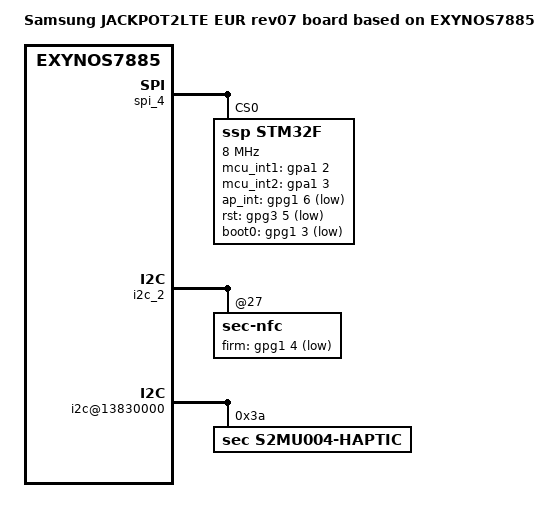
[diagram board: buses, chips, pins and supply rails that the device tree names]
/*
 * SAMSUNG UNIVERSAL7885 board device tree source
 *
 * Copyright (c) 2013 Samsung Electronics Co., Ltd.
 *		http://www.samsung.com
 *
 * This program is free software; you can redistribute it and/or modify
 * it under the terms of the GNU General Public License version 2 as
 * published by the Free Software Foundation.
*/

/dts-v1/;
#include "exynos7885-jackpot2lte_common.dtsi"
#include "exynos7885-jackpotlte_fingerprint-sensor_00.dtsi"
#include "exynos7885-jackpot2lte_eur_open_gpio_07.dtsi"
#include "exynos7885-jackpotlte_mst_02.dtsi"
#include "exynos7885-jackpot2lte_svcled.dtsi"

/ {
	model = "Samsung JACKPOT2LTE EUR rev07 board based on EXYNOS7885";
	model_info-chip = <7885>;
	model_info-platform = "android";
	model_info-subtype = "samsung";
	model_info-hw_rev = <7>;
	model_info-hw_rev_end = <255>;
	compatible = "samsung, JACKPOT2LTE EUR rev07", "samsung,Universal7885";

	/* SENSORHUB */
    spi_4: spi@13980000 {
        #address-cells = <1>;
        #size-cells = <0>;

        pinctrl-names = "default";
        pinctrl-0 = <&spi4_miso &spi4_mosi &spi4_cs &spi4_clk>;
        interrupts = <0 277 0>;

        num-cs = <1>;
        status = "okay";

		STM32F@0 {
			compatible = "ssp,STM32F";
			reg = <0>;
			spi-max-frequency = <8000000>;
			spi-cpol;
			spi-cpha;
			pinctrl-names = "default";
			pinctrl-0 = <&ssp_rst &ssp_ap_int &ssp_mcu_int1 &ssp_mcu_int2 &ssp_boot0>;

			gpio-controller;
			#gpio-cells = <2>;
			ssp,mcu_int1-gpio = <&gpa1 2 0x00>;
			ssp,mcu_int2-gpio = <&gpa1 3 0x00>;
			ssp,ap_int-gpio = <&gpg1 6 0x01>;
			ssp,rst-gpio = <&gpg3 5 0x01>;
			ssp,boot0-gpio = <&gpg1 3 0x1>;
			ssp,acc-position = <6>;
			ssp,mag-position = <5>;
			ssp-sns-combination = <0>;
			ssp,prox-hi_thresh = <55>;
			ssp,prox-low_thresh = <40>;
			ssp,prox-detect_hi_thresh = <250>;
			ssp,prox-detect_low_thresh = <130>;
			ssp-ap-rev = <1>;
			ssp-mag-array = /bits/ 8 <118 84 64 98 6 196 255 46 212
                                    55 242 196 116 2 255 238 255 177
                                    193 111 192 254 189 53 11 73 25>;
			ssp-mag-type = <1>;
			ssp-glass-type = <0>;
			ssp-acc-type = <1>;
			ssp-pressure-type = <1>;
			ssp-project-type = <2>;


            controller-data {
                cs-gpio = <&gpp8 0 0>;
                samsung,spi-feedback-delay = <0>;
			};
        };
	};

	pinctrl@139B0000 {
		nfc_pvdd_en: nfc_pvdd_en {
				samsung,pins = "gpg1-5";
				samsung,pin-function = <1>;
				samsung,pin-pud = <0>;
				samsung,pin-val = <0>;
				samsung,pin-con-pdn = <3>;
				samsung,pin-pud-pdn = <0>;
		};

		nfc_firm: nfc_firm {
			samsung,pins = "gpg1-4";
			samsung,pin-function = <1>;
			samsung,pin-pud = <0>;
			samsung,pin-val = <0>;
			samsung,pin-con-pdn = <3>;
			samsung,pin-pud-pdn = <0>;
		};
	};

	i2c_2: i2c@13850000 {
		sec-nfc@27 {
			sec-nfc,firm-gpio = <&gpg1 4 1>;
			sec-nfc,pvdd_en = <&gpg1 5 1>;
			pinctrl-names = "default";
			pinctrl-0 = <&nfc_pd &nfc_firm &nfc_int &nfc_clk &nfc_pvdd_en &nfc_clk_req>;
		};
	};
	
	/* USIM DETECTION FOR CP */
	usim_det {
		pinctrl-names = "default";
		pinctrl-0 = <&sim0_det_gpio &sim1_det_gpio>;
		mif,num_of_usim_det = <2>;
		mif,usim-det0-gpio = <&gpa2 6 0>;
		mif,usim-det1-gpio = <&gpa2 5 0>;
	};

	/* motor control type :  1 = IFPMIC */
	/*				2 = Mot driving IC */
	motor {
		motor,motor_type = <1>;
	};

	pinctrl@139B0000 {
		motor_pwm: motor_pwm {
			samsung,pins = "gpg0-1";
			samsung,pin-function = <2>;
			samsung,pin-pud = <1>;
			samsung,pin-drv = <0>;
		};
	};

	i2c@13830000 {
		s2mu004-haptic@3A {
			compatible = "sec,s2mu004-haptic";
			reg = <0x3A>;
			pinctrl-names = "default";
			pinctrl-0 = <&motor_pwm>;
			
		};
	};
};

